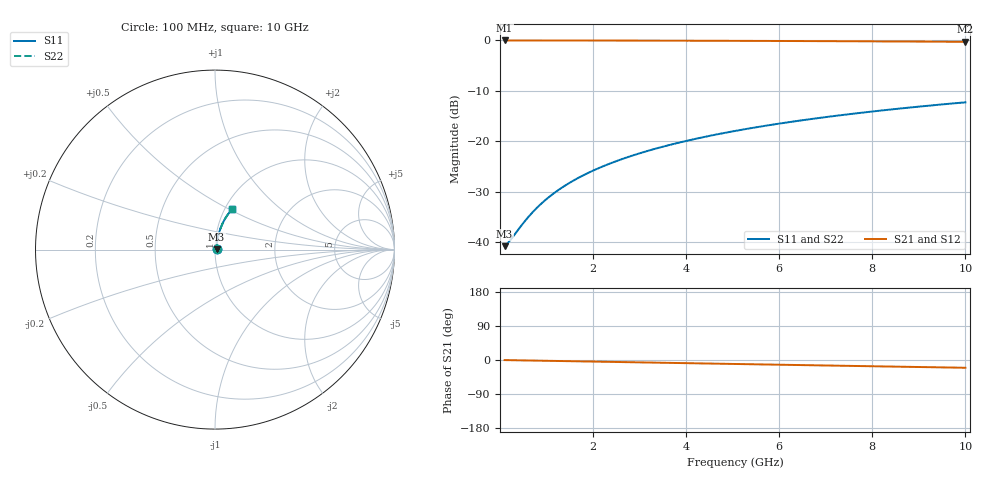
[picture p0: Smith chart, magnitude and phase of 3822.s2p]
# Hz S RI R 50.00
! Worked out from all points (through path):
!   100 points, 100 MHz to 10 GHz, reference 50 ohm
!   highest |S21| = -0.08 dB at 100 MHz (marker M1); lowest = -0.3 dB at 10 GHz (marker M2)
!   group delay of S21, straight-line fit = 5.7 ps
!   lowest |S11| = -40.8 dB at 100 MHz (marker M3), VSWR 1.02, Z = 50.9 + j0.253 ohm
!   |S11| at or under -10 dB: start of sweep to end of sweep
!   |S22| runs from -40.8 to -12.3 dB; largest |S21 - S12| = 0
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1e8  0.00881 0.00249  0.9912 -0.00361  0.9912 -0.00361  0.00881 0.00249
2e8  0.0089 0.00497  0.9911 -0.00722  0.9911 -0.00722  0.0089 0.00497
5e8  0.00919 0.0124  0.9908 -0.018  0.9908 -0.018  0.00919 0.0124
6e8  0.00932 0.0149  0.9906 -0.0217  0.9906 -0.0217  0.00932 0.0149
7e8  0.00946 0.0174  0.9905 -0.0253  0.9905 -0.0253  0.00946 0.0174
9e8  0.00979 0.0224  0.9901 -0.0325  0.9901 -0.0325  0.00979 0.0224
1.1e9  0.0102 0.0273  0.9897 -0.0397  0.9897 -0.0397  0.0102 0.0273
1.3e9  0.0107 0.0323  0.9892 -0.0469  0.9892 -0.0469  0.0107 0.0323
1.5e9  0.0112 0.0372  0.9887 -0.054  0.9887 -0.054  0.0112 0.0372
1.8e9  0.0121 0.0446  0.9877 -0.0648  0.9877 -0.0648  0.0121 0.0446
2.1e9  0.0132 0.0519  0.9865 -0.0755  0.9865 -0.0755  0.0132 0.0519
2.5e9  0.0149 0.0617  0.9847 -0.0898  0.9847 -0.0898  0.0149 0.0617
2.9e9  0.0169 0.0714  0.9826 -0.104  0.9826 -0.104  0.0169 0.0714
3.4e9  0.0197 0.0834  0.9795 -0.1216  0.9795 -0.1216  0.0197 0.0834
3.8e9  0.0223 0.093  0.9767 -0.1357  0.9767 -0.1357  0.0223 0.093
4.2e9  0.0252 0.1024  0.9737 -0.1496  0.9737 -0.1496  0.0252 0.1024
5.1e9  0.0326 0.1232  0.9657 -0.1806  0.9657 -0.1806  0.0326 0.1232
5.9e9  0.0402 0.1412  0.9575 -0.2076  0.9575 -0.2076  0.0402 0.1412
6.7e9  0.0488 0.1586  0.9483 -0.2341  0.9483 -0.2341  0.0488 0.1586
7.5e9  0.0583 0.1754  0.938 -0.2599  0.938 -0.2599  0.0583 0.1754
8.4e9  0.0701 0.1935  0.9253 -0.2882  0.9253 -0.2882  0.0701 0.1935
1e10  0.0935 0.2234  0.9 -0.3363  0.9 -0.3363  0.0935 0.2234
